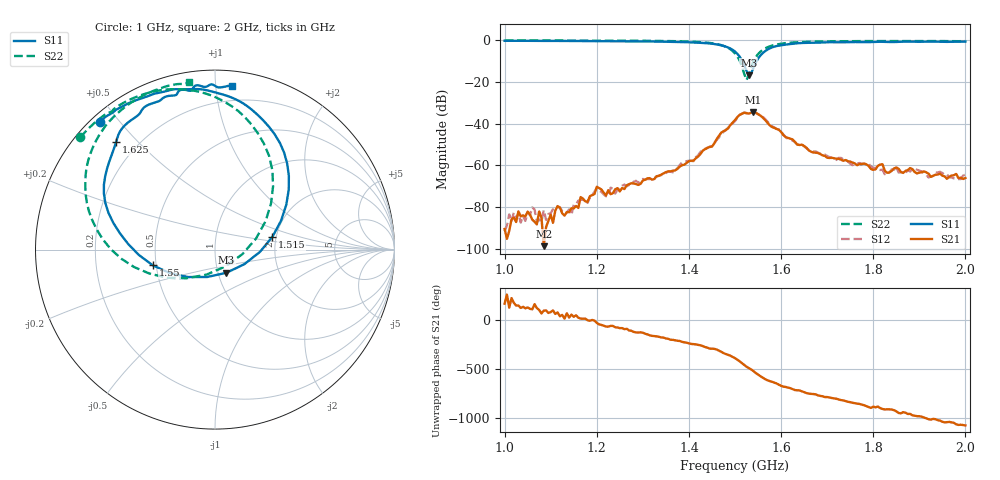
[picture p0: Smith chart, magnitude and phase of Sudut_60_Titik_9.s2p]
# Hz S RI R 50
! CMT, C1220, 16058040, 17.2.0/1
! Date: 14/08/2018 11:55:03
! Data: Format (Calibration Info)
! Freq  S11: Re/Im (F2)  S21: Re/Im (F2)  S12: Re/Im (F2)  S22: Re/Im (F2)
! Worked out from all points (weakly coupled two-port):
!   201 points, 1 GHz to 2 GHz, reference 50 ohm
!   highest |S21| = -34.63 dB at 1.54 GHz (marker M1); lowest = -98.7 dB at 1.085 GHz (marker M2)
!   lowest |S11| = -16.8 dB at 1.53 GHz (marker M3), VSWR 1.34, Z = 54.8 - j14.4 ohm
!   |S11| at or under -10 dB: 1.516 GHz to 1.547 GHz (31.65 MHz wide, 2.07 % of centre)
!   |S22| runs from -19.1 to -0.2 dB; largest |S21 - S12| = 0.00082
!   S11 on the Smith chart (normalised r, x): 1 GHz: 0.03, +0.44; 1.515 GHz: 1.91, +0.30; 1.55 GHz: 0.48, -0.10; 1.625 GHz: 0.12, +0.43; 2 GHz: 0.10, +1.10
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1e9  -0.6434 0.711  -2.94e-05 5.19e-06  -2.15e-05 -1.59e-05  -0.7499 0.6267
1.085e9  -0.5587 0.7728  -1.64e-06 1.15e-05  5.12e-06 8.46e-05  -0.6883 0.6898
1.16e9  -0.4847 0.8139  8.63e-05 4.08e-05  0.000103 9.84e-05  -0.6229 0.745
1.17e9  -0.4714 0.8198  0.000154 4.16e-05  0.000146 3.57e-05  -0.6124 0.7521
1.18e9  -0.4547 0.8269  0.000134 2.83e-07  0.000125 -1.68e-05  -0.6012 0.7583
1.2e9  -0.4287 0.836  0.000272 -0.000141  0.000257 -0.000133  -0.5785 0.7655
1.225e9  -0.401 0.8455  0.000103 -0.000232  0.000102 -0.000151  -0.5622 0.784
1.23e9  -0.3915 0.8486  0.000107 -0.000174  0.000102 -0.000273  -0.5565 0.7887
1.24e9  -0.3711 0.8559  8.2e-05 -0.000254  2.47e-05 -0.000209  -0.5447 0.797
1.335e9  -0.214 0.8933  -0.000551 -9.48e-05  -0.00056 -8.78e-05  -0.3958 0.8658
1.45e9  0.1838 0.7963  0.00104 0.0026  0.00124 0.00259  0.0268 0.8375
1.5e9  0.4109 0.3338  0.0107 -0.00578  0.0101 -0.00552  0.3235 0.3522
1.515e9  0.3197 0.071  0.00305 -0.0169  0.00346 -0.017  0.2284 0.0613
1.525e9  0.1635 -0.0813  -0.00777 -0.0159  -0.00775 -0.0161  0.0586 -0.0934
1.53e9  0.0633 -0.1291  -0.011 -0.0134  -0.0111 -0.0135  -0.0474 -0.1394
1.54e9  -0.1501 -0.153  -0.0175 -0.00609  -0.0173 -0.00614  -0.2675 -0.1569
1.55e9  -0.3464 -0.0878  -0.0161 0.00485  -0.0163 0.00431  -0.4504 -0.0974
1.58e9  -0.611 0.2601  -6.51e-05 0.0083  0.000258 0.00866  -0.7024 0.2141
1.625e9  -0.5508 0.5987  0.00404 0.00106  0.00379 0.00112  -0.6981 0.5225
1.67e9  -0.439 0.7407  0.00164 -0.00119  0.00172 -0.00131  -0.6206 0.6743
1.835e9  -0.1443 0.8854  -0.000656 0.000157  -0.000664 0.000115  -0.3703 0.8729
2e9  0.0941 0.9109  0.000495 1.91e-05  0.000597 5.24e-05  -0.1469 0.9311
